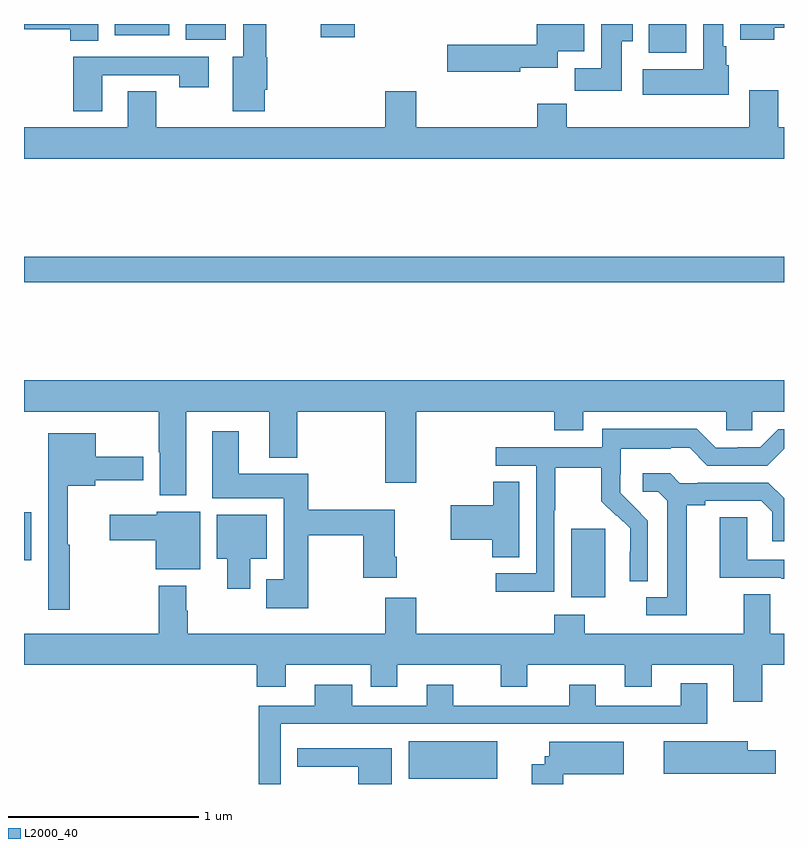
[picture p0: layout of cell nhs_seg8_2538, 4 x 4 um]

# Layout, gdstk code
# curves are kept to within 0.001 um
import gdstk
lib = gdstk.Library(unit=1e-6, precision=1e-09)
def R(c, l, rs):  # rectangles x0, y0, x1, y1
    for r in rs: c.add(gdstk.rectangle(r[:2], r[2:], *l))
def P(c, l, *ps):  # polygons
    for p in ps: c.add(gdstk.Polygon(p, *l))
L2000_40 = (2000, 40)

nhs_seg8_2538 = lib.new_cell('nhs_seg8_2538')
R(nhs_seg8_2538, L2000_40, [(273.026,1087.928,273.49,1088.125), (273.881,1088.882,274.06,1089.243), (271,1089.077,271.039,1089.331), (271,1090.54,275,1090.676), (274.289,1091.75,274.485,1091.9), (271.85,1091.816,272.062,1091.9), (272.563,1091.829,272.741,1091.9), (271.478,1091.84,271.765,1091.9)])
P(nhs_seg8_2538, L2000_40, [(272.266,1091.554),(272.279,1091.554),(272.279,1091.724),(272.274,1091.724),(272.274,1091.9),(272.153,1091.9),(272.153,1091.728),(272.099,1091.728),(272.099,1091.442),(272.266,1091.442)],
  [(271.39,1091.9),(271,1091.9),(271,1091.872),(271.244,1091.872),(271.244,1091.812),(271.39,1091.812)],
  [(274.708,1091.682),(274.696,1091.682),(274.696,1091.782),(274.681,1091.782),(274.681,1091.9),(274.574,1091.9),(274.574,1091.662),(274.257,1091.662),(274.257,1091.528),(274.708,1091.528)],
  [(274.147,1091.809),(274.204,1091.809),(274.204,1091.9),(274.037,1091.9),(274.037,1091.668),(273.898,1091.668),(273.898,1091.55),(274.147,1091.55)],
  [(273.612,1091.669),(273.808,1091.669),(273.808,1091.756),(273.949,1091.756),(273.949,1091.9),(273.698,1091.9),(273.698,1091.792),(273.228,1091.792),(273.228,1091.65),(273.612,1091.65)],
  [(274.948,1091.88),(275,1091.88),(275,1091.9),(274.769,1091.9),(274.769,1091.816),(274.948,1091.816)],
  [(271.411,1091.631),(271.816,1091.631),(271.816,1091.568),(271.972,1091.568),(271.972,1091.727),(271.259,1091.727),(271.259,1091.442),(271.411,1091.442)],
  [(275,1091.356),(274.97,1091.356),(274.97,1091.551),(274.817,1091.551),(274.817,1091.356),(273.857,1091.356),(273.857,1091.48),(273.701,1091.48),(273.701,1091.356),(273.064,1091.356),(273.064,1091.545),(272.9,1091.545),(272.9,1091.356),(271.695,1091.356),(271.695,1091.546),(271.547,1091.546),(271.547,1091.356),(271,1091.356),(271,1091.192),(275,1091.192)],
  [(271.855,1089.86),(272.291,1089.86),(272.291,1089.617),(272.439,1089.617),(272.439,1089.86),(272.9,1089.86),(272.9,1089.486),(273.064,1089.486),(273.064,1089.86),(273.791,1089.86),(273.791,1089.761),(273.943,1089.761),(273.943,1089.86),(274.695,1089.86),(274.695,1089.762),(274.833,1089.762),(274.833,1089.86),(275,1089.86),(275,1090.024),(271,1090.024),(271,1089.86),(271.708,1089.86),(271.708,1089.645),(271.715,1089.645),(271.715,1089.419),(271.855,1089.419)],
  [(273.792,1089.34),(273.795,1089.34),(273.795,1089.564),(274.039,1089.564),(274.039,1089.389),(274.116,1089.312),(274.119,1089.315),(274.19,1089.245),(274.19,1089.122),(274.188,1089.122),(274.188,1088.968),(274.284,1088.968),(274.284,1089.286),(274.138,1089.434),(274.138,1089.531),(274.14,1089.531),(274.14,1089.665),(274.403,1089.665),(274.403,1089.669),(274.503,1089.669),(274.596,1089.576),(274.911,1089.576),(275,1089.665),(275,1089.768),(274.971,1089.768),(274.875,1089.672),(274.757,1089.672),(274.757,1089.669),(274.641,1089.669),(274.541,1089.769),(274.044,1089.769),(274.044,1089.672),(273.483,1089.672),(273.483,1089.576),(273.696,1089.576),(273.696,1089.009),(273.483,1089.009),(273.483,1088.911),(273.792,1088.911)],
  [(272.496,1089.208),(272.785,1089.208),(272.785,1088.985),(272.963,1088.985),(272.963,1089.097),(272.95,1089.097),(272.95,1089.344),(272.496,1089.344),(272.496,1089.532),(272.131,1089.532),(272.131,1089.757),(271.991,1089.757),(271.991,1089.404),(272.366,1089.404),(272.366,1088.977),(272.276,1088.977),(272.276,1088.825),(272.496,1088.825)],
  [(271.241,1089.158),(271.231,1089.158),(271.231,1089.47),(271.374,1089.47),(271.374,1089.5),(271.627,1089.5),(271.627,1089.622),(271.378,1089.622),(271.378,1089.745),(271.127,1089.745),(271.127,1088.817),(271.241,1088.817)],
  [(274.489,1089.368),(274.585,1089.368),(274.585,1089.39),(274.88,1089.39),(274.937,1089.333),(274.937,1089.177),(275,1089.177),(275,1089.404),(274.918,1089.486),(274.546,1089.486),(274.546,1089.483),(274.452,1089.483),(274.4,1089.535),(274.257,1089.535),(274.257,1089.438),(274.338,1089.438),(274.385,1089.391),(274.385,1088.883),(274.275,1088.883),(274.275,1088.787),(274.489,1088.787)],
  [(273.607,1089.491),(273.469,1089.491),(273.469,1089.368),(273.246,1089.368),(273.246,1089.185),(273.464,1089.185),(273.464,1089.094),(273.607,1089.094)],
  [(271.927,1089.334),(271.698,1089.334),(271.698,1089.316),(271.452,1089.316),(271.452,1089.182),(271.694,1089.182),(271.694,1089.029),(271.927,1089.029)],
  [(272.191,1089.086),(272.278,1089.086),(272.278,1089.316),(272.015,1089.316),(272.015,1089.086),(272.069,1089.086),(272.069,1088.928),(272.191,1088.928)],
  [(275,1089.081),(274.806,1089.081),(274.806,1089.305),(274.661,1089.305),(274.661,1088.985),(274.985,1088.985),(274.985,1088.981),(275,1088.981)],
  [(274.886,1088.528),(275,1088.528),(275,1088.692),(274.927,1088.692),(274.927,1088.9),(274.787,1088.9),(274.787,1088.692),(273.951,1088.692),(273.951,1088.791),(273.791,1088.791),(273.791,1088.692),(273.064,1088.692),(273.064,1088.881),(272.9,1088.881),(272.9,1088.692),(271.863,1088.692),(271.863,1088.813),(271.855,1088.813),(271.855,1088.944),(271.708,1088.944),(271.708,1088.692),(271,1088.692),(271,1088.528),(272.225,1088.528),(272.225,1088.411),(272.377,1088.411),(272.377,1088.528),(272.825,1088.528),(272.825,1088.411),(272.965,1088.411),(272.965,1088.528),(273.509,1088.528),(273.509,1088.411),(273.649,1088.411),(273.649,1088.528),(274.163,1088.528),(274.163,1088.411),(274.303,1088.411),(274.303,1088.528),(274.733,1088.528),(274.733,1088.334),(274.886,1088.334)],
  [(272.352,1088.217),(274.597,1088.217),(274.597,1088.431),(274.457,1088.431),(274.457,1088.313),(274.009,1088.313),(274.009,1088.422),(273.869,1088.422),(273.869,1088.313),(273.259,1088.313),(273.259,1088.422),(273.119,1088.422),(273.119,1088.313),(272.728,1088.313),(272.728,1088.422),(272.531,1088.422),(272.531,1088.313),(272.236,1088.313),(272.236,1087.9),(272.352,1087.9)],
  [(274.957,1088.077),(274.81,1088.077),(274.81,1088.125),(274.367,1088.125),(274.367,1087.955),(274.957,1087.955)],
  [(273.837,1087.952),(274.156,1087.952),(274.156,1088.122),(273.764,1088.122),(273.764,1088.046),(273.741,1088.046),(273.741,1088.005),(273.672,1088.005),(273.672,1087.9),(273.837,1087.9)],
  [(272.935,1088.088),(272.545,1088.088),(272.545,1088.087),(272.437,1088.087),(272.437,1087.991),(272.759,1087.991),(272.759,1087.9),(272.935,1087.9)])

lib.write_gds('nhs_seg8_2538.gds')
